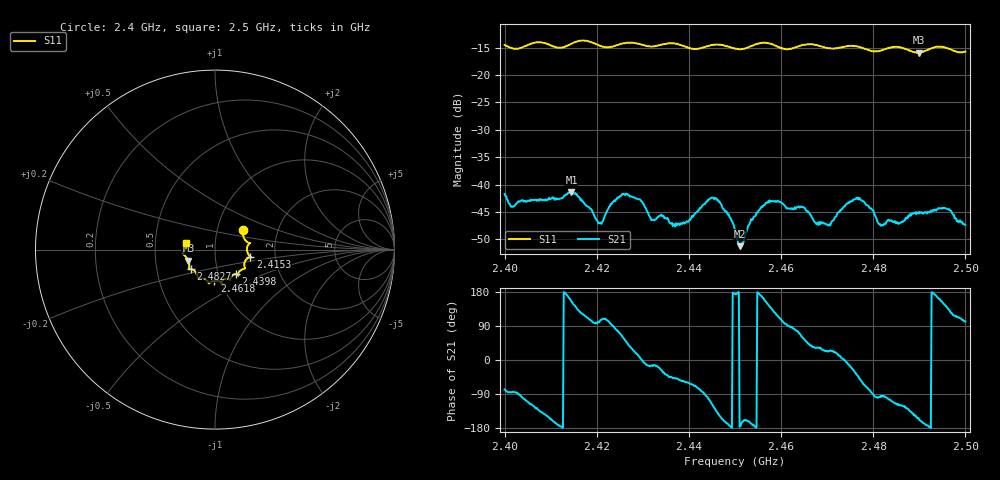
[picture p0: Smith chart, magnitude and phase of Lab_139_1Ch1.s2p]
# Hz S RI R 50
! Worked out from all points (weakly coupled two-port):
!   601 points, 2.4 GHz to 2.5 GHz, reference 50 ohm
!   highest |S21| = -41.42 dB at 2.4145 GHz (marker M1); lowest = -51.3 dB at 2.451 GHz (marker M2)
!   lowest |S11| = -15.9 dB at 2.4898 GHz (marker M3), VSWR 1.38, Z = 36.8 - j4.62 ohm
!   |S11| at or under -10 dB: start of sweep to end of sweep
!   S12 and S22 are empty: the file has one direction only
!   S11 on the Smith chart (normalised r, x): 2.4 GHz: 1.33, +0.29; 2.4153 GHz: 1.48, -0.12; 2.4398 GHz: 1.21, -0.34; 2.4618 GHz: 0.94, -0.33; 2.4827 GHz: 0.75, -0.17; 2.5 GHz: 0.72, +0.06
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2.4e9  0.1554 0.1065  0.00173 -0.00799  0 0  0 0
2.401833e9  0.1571 0.0768  0.000671 -0.00629  0 0  0 0
2.4145e9  0.1906 -0.0326  -0.00766 0.00368  0 0  0 0
2.415333e9  0.1965 -0.039  -0.00663 0.00511  0 0  0 0
2.416667e9  0.2025 -0.0429  -0.00402 0.00612  0 0  0 0
2.420667e9  0.1786 -0.0502  -0.000959 0.00437  0 0  0 0
2.426e9  0.1674 -0.102  0.00477 0.0066  0 0  0 0
2.433333e9  0.1295 -0.1342  0.00477 -0.00162  0 0  0 0
2.439833e9  0.1151 -0.1355  0.00229 -0.00393  0 0  0 0
2.4455e9  0.0841 -0.1699  -0.00437 -0.00589  0 0  0 0
2.45e9  0.0653 -0.1621  -0.0038 0.000349  0 0  0 0
2.451e9  0.054 -0.1635  -0.00273 -0.000165  0 0  0 0
2.457e9  0.0392 -0.1927  -0.00581 0.00355  0 0  0 0
2.461833e9  -0.0033 -0.1731  0.000134 0.00602  0 0  0 0
2.466667e9  -0.0349 -0.1881  0.00398 0.00305  0 0  0 0
2.470333e9  -0.0514 -0.1681  0.00387 0.00168  0 0  0 0
2.476667e9  -0.0962 -0.1547  0.00563 -0.00508  0 0  0 0
2.482667e9  -0.1349 -0.1084  -0.0006 -0.00431  0 0  0 0
2.483333e9  -0.14 -0.1081  -0.0011 -0.00462  0 0  0 0
2.489833e9  -0.1483 -0.0612  -0.00484 -0.00246  0 0  0 0
2.495667e9  -0.1777 -0.017  -0.00484 0.00366  0 0  0 0
2.5e9  -0.1594 0.0389  -0.000875 0.00417  0 0  0 0
